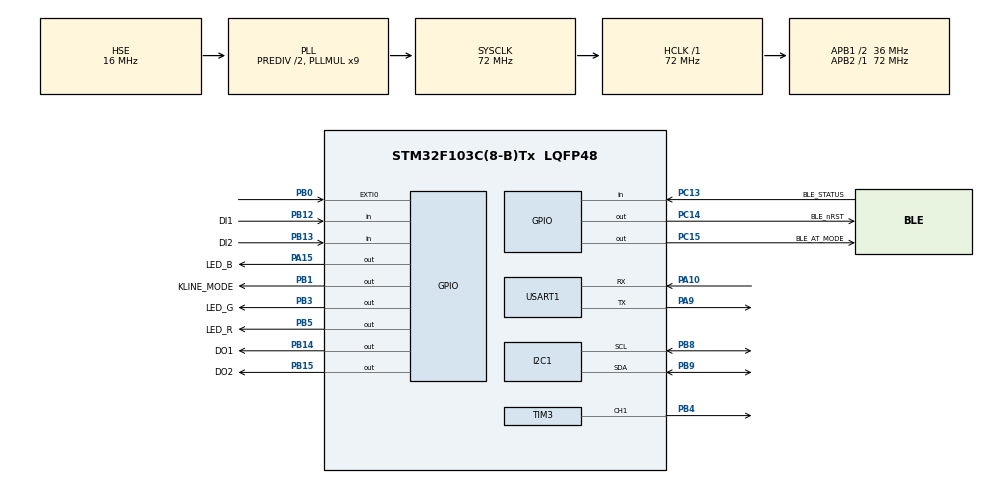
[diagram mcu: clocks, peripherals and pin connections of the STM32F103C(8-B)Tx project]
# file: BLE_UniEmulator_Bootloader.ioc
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Dma.Request0=USART1_RX
Dma.USART1_RX.0.Direction=DMA_PERIPH_TO_MEMORY
Dma.USART1_RX.0.Instance=DMA1_Channel5
Dma.USART1_RX.0.MemDataAlignment=DMA_MDATAALIGN_BYTE
Dma.USART1_RX.0.MemInc=DMA_MINC_ENABLE
Dma.USART1_RX.0.Mode=DMA_CIRCULAR
Dma.USART1_RX.0.PeriphDataAlignment=DMA_PDATAALIGN_BYTE
Dma.USART1_RX.0.PeriphInc=DMA_PINC_DISABLE
Dma.USART1_RX.0.Priority=DMA_PRIORITY_LOW
Mcu.Family=STM32F1
Mcu.Name=STM32F103C(8-B)Tx
Mcu.Package=LQFP48
NVIC.DMA1_Channel5_IRQn=true\:0\:0\:false\:false\:true\:false\:true\:true
NVIC.PriorityGroup=NVIC_PRIORITYGROUP_4
NVIC.USART1_IRQn=true\:0\:0\:false\:false\:true\:true\:true\:true
PA10.Mode=Asynchronous
PA10.Signal=USART1_RX
PA13.Mode=Serial_Wire
PA13.Signal=SYS_JTMS-SWDIO
PA14.Mode=Serial_Wire
PA14.Signal=SYS_JTCK-SWCLK
PA15.GPIO_Label=LED_B
PA15.Signal=GPIO_Output
PA9.Mode=Asynchronous
PA9.Signal=USART1_TX
PB0.Signal=GPXTI0
PB1.GPIO_Label=KLINE_MODE
PB1.Signal=GPIO_Output
PB12.GPIO_Label=DI1
PB12.Signal=GPIO_Input
PB13.GPIO_Label=DI2
PB13.Signal=GPIO_Input
PB14.GPIO_Label=DO1
PB14.Signal=GPIO_Output
PB15.GPIO_Label=DO2
PB15.Signal=GPIO_Output
PB3.GPIO_Label=LED_G
PB3.Signal=GPIO_Output
PB4.Signal=S_TIM3_CH1
PB5.GPIO_Label=LED_R
PB5.Signal=GPIO_Output
PB8.Mode=I2C
PB8.Signal=I2C1_SCL
PB9.Mode=I2C
PB9.Signal=I2C1_SDA
PC13-TAMPER-RTC.GPIO_Label=BLE_STATUS
PC13-TAMPER-RTC.Signal=GPIO_Input
PC14-OSC32_IN.GPIO_Label=BLE_nRST
PC14-OSC32_IN.PinState=GPIO_PIN_SET
PC14-OSC32_IN.Signal=GPIO_Output
PC15-OSC32_OUT.GPIO_Label=BLE_AT_MODE
PC15-OSC32_OUT.Signal=GPIO_Output
PD0-OSC_IN.Mode=HSE-External-Oscillator
PD0-OSC_IN.Signal=RCC_OSC_IN
PD1-OSC_OUT.Mode=HSE-External-Oscillator
PD1-OSC_OUT.Signal=RCC_OSC_OUT
ProjectManager.HeapSize=0x200
ProjectManager.StackSize=0x400
ProjectManager.TargetToolchain=MDK-ARM V5.32
RCC.ADCPresc=RCC_ADCPCLK2_DIV6
RCC.AHBFreq_Value=72000000
RCC.APB1CLKDivider=RCC_HCLK_DIV2
RCC.APB1Freq_Value=36000000
RCC.APB1TimFreq_Value=72000000
RCC.APB2Freq_Value=72000000
RCC.APB2TimFreq_Value=72000000
RCC.HCLKFreq_Value=72000000
RCC.HSEDivPLL=RCC_HSE_PREDIV_DIV2
RCC.HSE_VALUE=16000000
RCC.PLLMUL=RCC_PLL_MUL9
RCC.PLLSourceVirtual=RCC_PLLSOURCE_HSE
RCC.RCC_MCOSource=RCC_MCO1SOURCE_HSE
RCC.SYSCLKFreq_VALUE=72000000
RCC.SYSCLKSource=RCC_SYSCLKSOURCE_PLLCLK
RCC.USBFreq_Value=72000000
SH.S_TIM3_CH1.0=TIM3_CH1,PWM Generation1 CH1
TIM3.Channel-PWM\ Generation1\ CH1=TIM_CHANNEL_1
TIM3.Period=500
TIM3.Prescaler=71
USART1.VirtualMode=VM_ASYNC
VP_CRC_VS_CRC.Mode=CRC_Activate
VP_TIM3_VS_ClockSourceINT.Mode=Internal
board=custom

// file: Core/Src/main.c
/* USER CODE BEGIN Header */
/**
 ******************************************************************************
 * @file           : main.c
 * @brief          : Main program body
 ******************************************************************************
 * @attention
 *
 * Copyright (c) 2024 STMicroelectronics.
 * All rights reserved.
 *
 * This software is licensed under terms that can be found in the LICENSE file
 * in the root directory of this software component.
 * If no LICENSE file comes with this software, it is provided AS-IS.
 *
 ******************************************************************************
 */
/* USER CODE END Header */
#include "main.h"

/* USER CODE BEGIN Includes */
#include "Bootloader.h"
#include "EEPROM.h"
#include "SerialFIFO.h"
#include "SerialProtocol.h"
#include "SmartLED.h"
#include <string.h>
/* USER CODE END Includes */

/* USER CODE BEGIN PTD */
#define CONNECTION_TIMEOUT 20000 // 20 seconds

uint8_t callCount = 0; // Static variable to count the number of calls
/* USER CODE END PTD */

CRC_HandleTypeDef hcrc;

I2C_HandleTypeDef hi2c1;

TIM_HandleTypeDef htim3;

UART_HandleTypeDef huart1;
DMA_HandleTypeDef hdma_usart1_rx;

void SystemClock_Config(void);
static void MX_GPIO_Init(void);
static void MX_DMA_Init(void);
static void MX_CRC_Init(void);
static void MX_I2C1_Init(void);
static void MX_TIM3_Init(void);
static void MX_USART1_UART_Init(void);
/* USER CODE BEGIN PFP */
void LED_Red_Callback(bool status)
{
    // Check if Bluetooth is no connection
    if (HAL_GPIO_ReadPin(BLE_STATUS_GPIO_Port, BLE_STATUS_Pin) == GPIO_PIN_RESET)
    {
        // Increment the call counter
        callCount++;

        // Turn on the alarm on the first call, turn it off on the next two calls
        if (callCount == 1 && status)
        {
            TIM3->CCR1 = 250; // Buzzer Turn on
        }
        else
        {
            TIM3->CCR1 = 0; // Buzzer Turn off
        }

        // Reset the call counter after 20 calls
        if (callCount >= 20)
        {
            callCount = 0;
        }
    }
}

/* USER CODE END PFP */

int main(void)
{

  /* MCU Configuration--------------------------------------------------------*/

  /* Reset of all peripherals, Initializes the Flash interface and the Systick. */
  HAL_Init();

  /* Configure the system clock */
  SystemClock_Config();

  /* Initialize all configured peripherals */
  MX_GPIO_Init();
  MX_DMA_Init();
  MX_CRC_Init();
  MX_I2C1_Init();
  MX_TIM3_Init();
  MX_USART1_UART_Init();
  /* USER CODE BEGIN 2 */
    UART1_Init();

    if (EEPROM_Init(AT24C32) != HAL_OK)
    {
        Error_Handler(); // Handle initialization failure
    }

    SmartLED_Init(LED_R_GPIO_Port, LED_R_Pin, true, &LED_Red_Callback, NULL);
    SmartLED_Init(LED_G_GPIO_Port, LED_G_Pin, true, NULL, NULL);
    SmartLED_Init(LED_B_GPIO_Port, LED_B_Pin, true, NULL, NULL);

    SmartLED_SetMode(LED_R, LED_MODE_BLINK_SLOW);

    HAL_TIM_PWM_Start(&htim3, TIM_CHANNEL_1);

    TIM3->CCR1 = 250; // Buzzer Turn on

    if (bootloaderInit() == FLASH_MODE)
    {
        uint32_t startTime = HAL_GetTick(); // Get the start time

        // Wait for connection or timeout
        while (HAL_GPIO_ReadPin(BLE_STATUS_GPIO_Port, BLE_STATUS_Pin) == GPIO_PIN_RESET)
        {
            if ((HAL_GetTick() - startTime) > CONNECTION_TIMEOUT)
            {
                // Timeout occurred, reset the BLE module
                HAL_GPIO_WritePin(BLE_nRST_GPIO_Port, BLE_nRST_Pin, GPIO_PIN_RESET);
                HAL_Delay(10);
                HAL_GPIO_WritePin(BLE_nRST_GPIO_Port, BLE_nRST_Pin, GPIO_PIN_SET);

                // Reset the start time and continue to wait for connection
                startTime = HAL_GetTick();
            }
        }

        // Set low level to enable AT command (just when BLE connected)
        HAL_GPIO_WritePin(BLE_AT_MODE_GPIO_Port, BLE_AT_MODE_Pin, GPIO_PIN_RESET);

        HAL_Delay(20);

        TIM3->CCR1 = 0; // Buzzer Turn off

        SmartLED_SetMode(LED_R, LED_MODE_OFF);
        SmartLED_SetMode(LED_B, LED_MODE_BLINK_MID);

        UART1_WriteStr("AT+NAMESmart Emulator\r\n"); // name = Smart Emulator
        HAL_Delay(100);

        UART1_WriteStr("AT+STARTEN1\r\n"); // 1 = Start Wake up
        HAL_Delay(50);

        UART1_WriteStr("AT+ADVIN0\r\n"); // 0 = 100ms
        HAL_Delay(50);

        UART1_WriteStr("AT+MTU2\r\n"); // 2 = 128 bytes
        TIM3->CCR1 = 250;              // Buzzer Turn on
        HAL_Delay(100);
        TIM3->CCR1 = 0; // Buzzer Turn off

        // Set high level to wake up the Module
        HAL_GPIO_WritePin(BLE_AT_MODE_GPIO_Port, BLE_AT_MODE_Pin, GPIO_PIN_SET);
    }
  /* USER CODE END 2 */

  /* Infinite loop */
  /* USER CODE BEGIN WHILE */
    while (1)
    {
        if (HAL_GPIO_ReadPin(BLE_STATUS_GPIO_Port, BLE_STATUS_Pin) == GPIO_PIN_RESET)
        {

            if (SmartLED_GetMode(LED_R) == LED_MODE_OFF)
                callCount = 0;

            SmartLED_SetMode(LED_B, LED_MODE_OFF);
            SmartLED_SetMode(LED_R, LED_MODE_BLINK_SLOW);
        }
        else if (SmartLED_GetMode(LED_R) == LED_MODE_BLINK_SLOW)
        {
            SmartLED_SetMode(LED_B, LED_MODE_BLINK_MID);
            SmartLED_SetMode(LED_R, LED_MODE_OFF);
            TIM3->CCR1 = 0; // Buzzer Turn off
        }

        if (UART1_Available())
            Serial_Decode();

    /* USER CODE END WHILE */

    }
}

void SystemClock_Config(void)
{
  RCC_OscInitTypeDef RCC_OscInitStruct = {0};
  RCC_ClkInitTypeDef RCC_ClkInitStruct = {0};

  /** Initializes the RCC Oscillators according to the specified parameters
  * in the RCC_OscInitTypeDef structure.
  */
  RCC_OscInitStruct.OscillatorType = RCC_OSCILLATORTYPE_HSE;
  RCC_OscInitStruct.HSEState = RCC_HSE_ON;
  RCC_OscInitStruct.HSEPredivValue = RCC_HSE_PREDIV_DIV2;
  RCC_OscInitStruct.HSIState = RCC_HSI_ON;
  RCC_OscInitStruct.PLL.PLLState = RCC_PLL_ON;
  RCC_OscInitStruct.PLL.PLLSource = RCC_PLLSOURCE_HSE;
  RCC_OscInitStruct.PLL.PLLMUL = RCC_PLL_MUL9;
  if (HAL_RCC_OscConfig(&RCC_OscInitStruct) != HAL_OK)
  {
    Error_Handler();
  }

  /** Initializes the CPU, AHB and APB buses clocks
  */
  RCC_ClkInitStruct.ClockType = RCC_CLOCKTYPE_HCLK|RCC_CLOCKTYPE_SYSCLK
                              |RCC_CLOCKTYPE_PCLK1|RCC_CLOCKTYPE_PCLK2;
  RCC_ClkInitStruct.SYSCLKSource = RCC_SYSCLKSOURCE_PLLCLK;
  RCC_ClkInitStruct.AHBCLKDivider = RCC_SYSCLK_DIV1;
  RCC_ClkInitStruct.APB1CLKDivider = RCC_HCLK_DIV2;
  RCC_ClkInitStruct.APB2CLKDivider = RCC_HCLK_DIV1;

  if (HAL_RCC_ClockConfig(&RCC_ClkInitStruct, FLASH_LATENCY_2) != HAL_OK)
  {
    Error_Handler();
  }
}

static void MX_CRC_Init(void)
{

  hcrc.Instance = CRC;
  if (HAL_CRC_Init(&hcrc) != HAL_OK)
  {
    Error_Handler();
  }

}

static void MX_I2C1_Init(void)
{

  hi2c1.Instance = I2C1;
  hi2c1.Init.ClockSpeed = 100000;
  hi2c1.Init.DutyCycle = I2C_DUTYCYCLE_2;
  hi2c1.Init.OwnAddress1 = 0;
  hi2c1.Init.AddressingMode = I2C_ADDRESSINGMODE_7BIT;
  hi2c1.Init.DualAddressMode = I2C_DUALADDRESS_DISABLE;
  hi2c1.Init.OwnAddress2 = 0;
  hi2c1.Init.GeneralCallMode = I2C_GENERALCALL_DISABLE;
  hi2c1.Init.NoStretchMode = I2C_NOSTRETCH_DISABLE;
  if (HAL_I2C_Init(&hi2c1) != HAL_OK)
  {
    Error_Handler();
  }

}

static void MX_TIM3_Init(void)
{

  TIM_ClockConfigTypeDef sClockSourceConfig = {0};
  TIM_MasterConfigTypeDef sMasterConfig = {0};
  TIM_OC_InitTypeDef sConfigOC = {0};

  htim3.Instance = TIM3;
  htim3.Init.Prescaler = 71;
  htim3.Init.CounterMode = TIM_COUNTERMODE_UP;
  htim3.Init.Period = 500;
  htim3.Init.ClockDivision = TIM_CLOCKDIVISION_DIV1;
  htim3.Init.AutoReloadPreload = TIM_AUTORELOAD_PRELOAD_DISABLE;
  if (HAL_TIM_Base_Init(&htim3) != HAL_OK)
  {
    Error_Handler();
  }
  sClockSourceConfig.ClockSource = TIM_CLOCKSOURCE_INTERNAL;
  if (HAL_TIM_ConfigClockSource(&htim3, &sClockSourceConfig) != HAL_OK)
  {
    Error_Handler();
  }
  if (HAL_TIM_PWM_Init(&htim3) != HAL_OK)
  {
    Error_Handler();
  }
  sMasterConfig.MasterOutputTrigger = TIM_TRGO_RESET;
  sMasterConfig.MasterSlaveMode = TIM_MASTERSLAVEMODE_DISABLE;
  if (HAL_TIMEx_MasterConfigSynchronization(&htim3, &sMasterConfig) != HAL_OK)
  {
    Error_Handler();
  }
  sConfigOC.OCMode = TIM_OCMODE_PWM1;
  sConfigOC.Pulse = 0;
  sConfigOC.OCPolarity = TIM_OCPOLARITY_HIGH;
  sConfigOC.OCFastMode = TIM_OCFAST_DISABLE;
  if (HAL_TIM_PWM_ConfigChannel(&htim3, &sConfigOC, TIM_CHANNEL_1) != HAL_OK)
  {
    Error_Handler();
  }
  HAL_TIM_MspPostInit(&htim3);

}

static void MX_USART1_UART_Init(void)
{

  huart1.Instance = USART1;
  huart1.Init.BaudRate = 115200;
  huart1.Init.WordLength = UART_WORDLENGTH_8B;
  huart1.Init.StopBits = UART_STOPBITS_1;
  huart1.Init.Parity = UART_PARITY_NONE;
  huart1.Init.Mode = UART_MODE_TX_RX;
  huart1.Init.HwFlowCtl = UART_HWCONTROL_NONE;
  huart1.Init.OverSampling = UART_OVERSAMPLING_16;
  if (HAL_UART_Init(&huart1) != HAL_OK)
  {
    Error_Handler();
  }
  /* USER CODE BEGIN USART1_Init 2 */
    SET_BIT(USART1->CR1, USART_CR1_IDLEIE);
  /* USER CODE END USART1_Init 2 */

}

static void MX_DMA_Init(void)
{

  /* DMA controller clock enable */
  __HAL_RCC_DMA1_CLK_ENABLE();

  /* DMA interrupt init */
  /* DMA1_Channel5_IRQn interrupt configuration */
  HAL_NVIC_SetPriority(DMA1_Channel5_IRQn, 0, 0);
  HAL_NVIC_EnableIRQ(DMA1_Channel5_IRQn);

}

static void MX_GPIO_Init(void)
{
  GPIO_InitTypeDef GPIO_InitStruct = {0};

  /* GPIO Ports Clock Enable */
  __HAL_RCC_GPIOC_CLK_ENABLE();
  __HAL_RCC_GPIOD_CLK_ENABLE();
  __HAL_RCC_GPIOB_CLK_ENABLE();
  __HAL_RCC_GPIOA_CLK_ENABLE();

  /*Configure GPIO pin Output Level */
  HAL_GPIO_WritePin(BLE_nRST_GPIO_Port, BLE_nRST_Pin, GPIO_PIN_SET);

  /*Configure GPIO pin Output Level */
  HAL_GPIO_WritePin(BLE_AT_MODE_GPIO_Port, BLE_AT_MODE_Pin, GPIO_PIN_RESET);

  /*Configure GPIO pin Output Level */
  HAL_GPIO_WritePin(GPIOB, KLINE_MODE_Pin|DO1_Pin|DO2_Pin|LED_G_Pin
                          |LED_R_Pin, GPIO_PIN_RESET);

  /*Configure GPIO pin Output Level */
  HAL_GPIO_WritePin(LED_B_GPIO_Port, LED_B_Pin, GPIO_PIN_RESET);

  /*Configure GPIO pin : BLE_STATUS_Pin */
  GPIO_InitStruct.Pin = BLE_STATUS_Pin;
  GPIO_InitStruct.Mode = GPIO_MODE_INPUT;
  GPIO_InitStruct.Pull = GPIO_NOPULL;
  HAL_GPIO_Init(BLE_STATUS_GPIO_Port, &GPIO_InitStruct);

  /*Configure GPIO pins : BLE_nRST_Pin BLE_AT_MODE_Pin */
  GPIO_InitStruct.Pin = BLE_nRST_Pin|BLE_AT_MODE_Pin;
  GPIO_InitStruct.Mode = GPIO_MODE_OUTPUT_PP;
  GPIO_InitStruct.Pull = GPIO_NOPULL;
  GPIO_InitStruct.Speed = GPIO_SPEED_FREQ_LOW;
  HAL_GPIO_Init(GPIOC, &GPIO_InitStruct);

  /*Configure GPIO pin : PB0 */
  GPIO_InitStruct.Pin = GPIO_PIN_0;
  GPIO_InitStruct.Mode = GPIO_MODE_IT_RISING;
  GPIO_InitStruct.Pull = GPIO_NOPULL;
  HAL_GPIO_Init(GPIOB, &GPIO_InitStruct);

  /*Configure GPIO pins : KLINE_MODE_Pin DO1_Pin DO2_Pin LED_G_Pin
                           LED_R_Pin */
  GPIO_InitStruct.Pin = KLINE_MODE_Pin|DO1_Pin|DO2_Pin|LED_G_Pin
                          |LED_R_Pin;
  GPIO_InitStruct.Mode = GPIO_MODE_OUTPUT_PP;
  GPIO_InitStruct.Pull = GPIO_NOPULL;
  GPIO_InitStruct.Speed = GPIO_SPEED_FREQ_LOW;
  HAL_GPIO_Init(GPIOB, &GPIO_InitStruct);

  /*Configure GPIO pins : DI1_Pin DI2_Pin */
  GPIO_InitStruct.Pin = DI1_Pin|DI2_Pin;
  GPIO_InitStruct.Mode = GPIO_MODE_INPUT;
  GPIO_InitStruct.Pull = GPIO_NOPULL;
  HAL_GPIO_Init(GPIOB, &GPIO_InitStruct);

  /*Configure GPIO pin : LED_B_Pin */
  GPIO_InitStruct.Pin = LED_B_Pin;
  GPIO_InitStruct.Mode = GPIO_MODE_OUTPUT_PP;
  GPIO_InitStruct.Pull = GPIO_NOPULL;
  GPIO_InitStruct.Speed = GPIO_SPEED_FREQ_LOW;
  HAL_GPIO_Init(LED_B_GPIO_Port, &GPIO_InitStruct);

}

void Error_Handler(void)
{
    __disable_irq();
    while (1)
    {
    }
}
